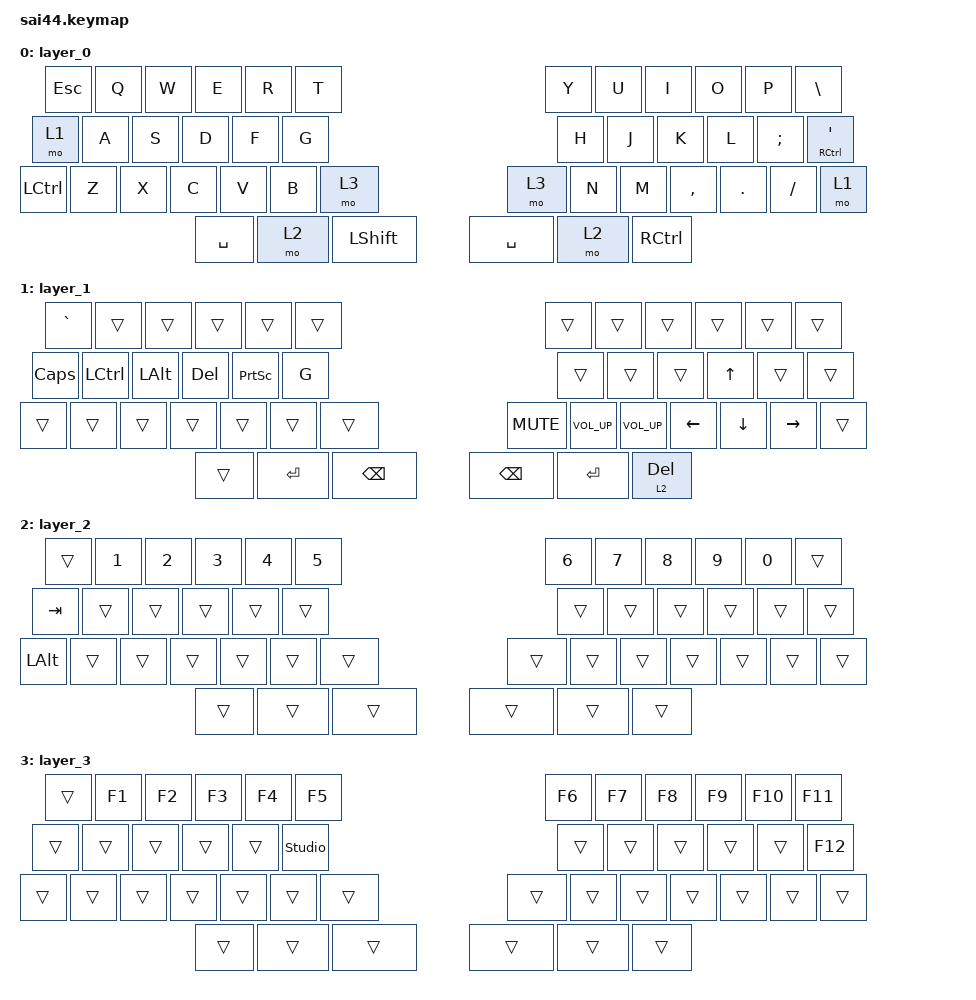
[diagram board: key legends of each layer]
/*
 * Copyright (c) 2020 The ZMK Contributors
 *
 * SPDX-License-Identifier: MIT
 */

#include <behaviors.dtsi>
#include <dt-bindings/zmk/keys.h>

#define DEF 0
#define LWR 1
#define RSE 2
#define ADJ 3

&lt { quick_tap_ms = <220>; };

&mt { quick_tap_ms = <220>; };

/ {
};

/ {
    keymap {
        compatible = "zmk,keymap";

        layer_0 {
            // ------------------------------------------------------------------------------------------------
            //| LGUI/] |  Q  |  W  |  E  |  R  |  T  |               |  Y  |  U   |  I  |  O  |  P  | RGUI/[ | 
            //| CTRL/` |  A  |  S  |  D  |  F  |  G  |               |  H  |  J   |  K  |  L  |  ;  | CTRL/' |
            //| LALT/\ |  Z  |  X  |  C  |  V  |  B  |  B  |     | B |  N  |  M   |  ,  |  .  |  /  | RALT/- |
            //                           | RSE | SPC | LWR |     | LWR | BKSP | RSE |

            bindings = <
&kp ESCAPE  &kp Q  &kp W  &kp E  &kp R      &kp T                             &kp Y  &kp U      &kp I      &kp O    &kp P     &kp BSLH
&mo 1       &kp A  &kp S  &kp D  &kp F      &kp G                             &kp H  &kp J      &kp K      &kp L    &kp SEMI  &mt RCTRL SQT
&kp LCTRL   &kp Z  &kp X  &kp C  &kp V      &kp B  &mo 3           &mo 3      &kp N  &kp M      &kp COMMA  &kp DOT  &kp FSLH  &mo 1
                                 &kp SPACE  &mo 2  &kp LEFT_SHIFT  &kp SPACE  &mo 2  &kp RCTRL
            >;
        };

        layer_1 {
            // ------------------------------------------------------------------------------------------------
            //| LGUI/] |  Q  |  W  |  E  |  R  |  T  |               |  Y  |  U   |  I  |  O  |  P  | RGUI/[ | 
            //| CTRL/` |  A  |  S  |  D  |  F  |  G  |               |  H  |  J   |  K  |  L  |  ;  | CTRL/' |
            //| LALT/\ |  Z  |  X  |  C  |  V  |  B  |  B  |     | B |  N  |  M   |  ,  |  .  |  /  | RALT/- |
            //                           | RSE | SPC | LWR |     | LWR | BKSP | RSE |

            bindings = <
&kp GRAVE     &trans     &trans        &trans      &trans           &trans                                   &trans           &trans        &trans    &trans        &trans     &trans
&kp CAPSLOCK  &kp LCTRL  &kp LEFT_ALT  &kp DELETE  &kp PRINTSCREEN  &kp G                                    &trans           &trans        &trans    &kp UP_ARROW  &trans     &trans
&trans        &trans     &trans        &trans      &trans           &trans     &trans         &kp C_MUTE     &kp C_VOLUME_UP  &kp C_VOL_UP  &kp LEFT  &kp DOWN      &kp RIGHT  &trans
                                                   &trans           &kp ENTER  &kp BACKSPACE  &kp BACKSPACE  &kp ENTER        &lt 2 DEL
            >;
        };

        layer_2 {
            // ------------------------------------------------------------------------------------------------
            //| LGUI/] |  Q  |  W  |  E  |  R  |  T  |               |  Y  |  U   |  I  |  O  |  P  | RGUI/[ | 
            //| CTRL/` |  A  |  S  |  D  |  F  |  G  |               |  H  |  J   |  K  |  L  |  ;  | CTRL/' |
            //| LALT/\ |  Z  |  X  |  C  |  V  |  B  |  B  |     | B |  N  |  M   |  ,  |  .  |  /  | RALT/- |
            //                           | RSE | SPC | LWR |     | LWR | BKSP | RSE |

            bindings = <
&trans    &kp NUMBER_1  &kp NUMBER_2  &kp NUMBER_3  &kp NUMBER_4  &kp N5                  &kp NUMBER_6  &kp N7  &kp N8  &kp N9  &kp N0  &trans
&kp TAB   &trans        &trans        &trans        &trans        &trans                  &trans        &trans  &trans  &trans  &trans  &trans
&kp LALT  &trans        &trans        &trans        &trans        &trans  &trans  &trans  &trans        &trans  &trans  &trans  &trans  &trans
                                                    &trans        &trans  &trans  &trans  &trans        &trans
            >;
        };

        layer_3 {
            // ------------------------------------------------------------------------------------------------
            //| LGUI/] |  Q  |  W  |  E  |  R  |  T  |               |  Y  |  U   |  I  |  O  |  P  | RGUI/[ | 
            //| CTRL/` |  A  |  S  |  D  |  F  |  G  |               |  H  |  J   |  K  |  L  |  ;  | CTRL/' |
            //| LALT/\ |  Z  |  X  |  C  |  V  |  B  |  B  |     | B |  N  |  M   |  ,  |  .  |  /  | RALT/- |
            //                           | RSE | SPC | LWR |     | LWR | BKSP | RSE |

            bindings = <
&trans  &kp F1  &kp F2  &kp F3  &kp F4  &kp F5                          &kp F6  &kp F7  &kp F8  &kp F9  &kp F10  &kp F11
&trans  &trans  &trans  &trans  &trans  &studio_unlock                  &trans  &trans  &trans  &trans  &trans   &kp F12
&trans  &trans  &trans  &trans  &trans  &trans          &trans  &trans  &trans  &trans  &trans  &trans  &trans   &trans
                                &trans  &trans          &trans  &trans  &trans  &trans
            >;
        };
    };
};
